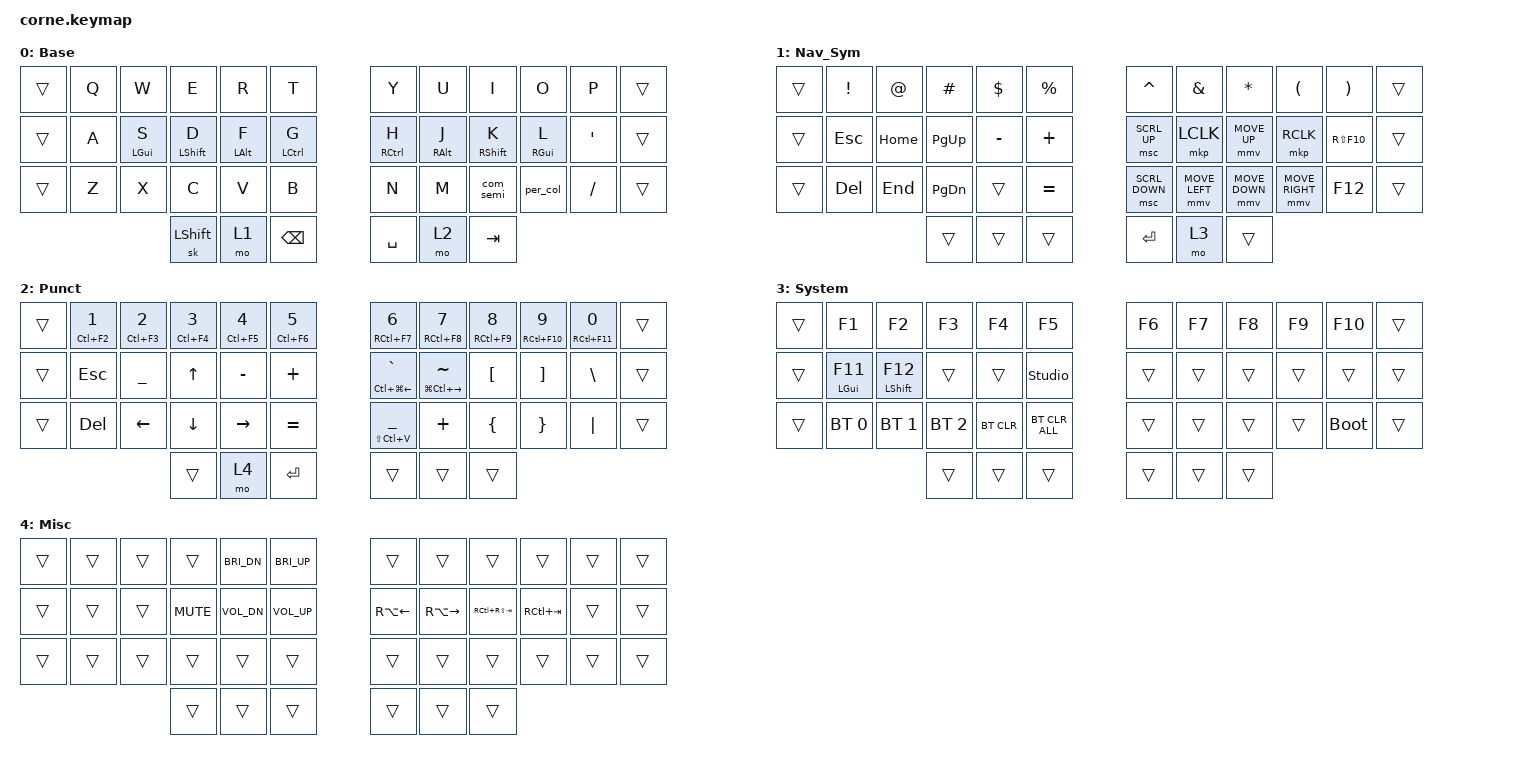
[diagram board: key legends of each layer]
#include <behaviors.dtsi>
#include <dt-bindings/zmk/bt.h>
#include <dt-bindings/zmk/keys.h>
#include <dt-bindings/zmk/pointing.h>

#define DEF 0
#define NAV 1
#define SYM 2
#define ADJ 3
#define EXTRA 4

//testing mouse movement and scroll binds...

&mt {
    flavor = "tap-preferred";
    quick-tap-ms = <280>;
    tapping-term-ms = <300>;
};

/ {
    behaviors {
        hm: homerow_mods {
            compatible = "zmk,behavior-hold-tap";
            label = "HOMEROW_MODS";
            #binding-cells = <2>;
            tapping-term-ms = <300>;
            quick_tap_ms = <0>;
            flavor = "tap-preferred";
            bindings = <&kp>, <&kp>;

            quick-tap-ms = <280>;
            global-quick-tap;
        };

        para: para {
            compatible = "zmk,behavior-tap-dance";
            label = "PARA";
            #binding-cells = <0>;
            bindings = <&kp LEFT_PARENTHESIS>, <&kp RIGHT_PARENTHESIS>;
        };

        caps: caps {
            compatible = "zmk,behavior-caps-word";
            label = "CAPS";
            #binding-cells = <0>;
            continue-list = <MINUS BACKSPACE>;
        };

        paraless: paraless {
            compatible = "zmk,behavior-mod-morph";
            label = "PARALESS";
            bindings = <&kp LEFT_PARENTHESIS>, <&kp LESS_THAN>;

            #binding-cells = <0>;
            mods = <(MOD_LSFT)>;
        };

        paragreat: paragreat {
            compatible = "zmk,behavior-mod-morph";
            label = "PARAGREAT";
            bindings = <&kp RIGHT_PARENTHESIS>, <&kp GREATER_THAN>;

            #binding-cells = <0>;
            mods = <(MOD_LSFT)>;
        };

        com_semi: com_semi {
            compatible = "zmk,behavior-mod-morph";
            label = "COM_SEMI";
            bindings = <&kp COMMA>, <&kp SEMI>;

            #binding-cells = <0>;
            mods = <(MOD_LSFT|MOD_RSFT)>;
        };

        per_col: per_col {
            compatible = "zmk,behavior-mod-morph";
            label = "PER_COL";
            bindings = <&kp PERIOD>, <&kp COLON>;

            #binding-cells = <0>;
            mods = <(MOD_LSFT|MOD_RSFT)>;
        };
    };

    combos { compatible = "zmk,combos"; };

    //

    keymap {
        compatible = "zmk,keymap";

        DEF {
            display-name = "Base";

            // -----------------------------------------------------------------------------------------
            // |  Q  |  W  |  E  |  R  |  T  |   |  Y  |  U   |  I  |  O  |  P  |
            // |  A  |  S  |  D  |  F  |  G  |   |  H  |  J   |  K  |  L  |  ;  |
            // |  Z  |  X  |  C  |  V  |  B  |   |  N  |  M   |  ,  |  .  |  /  |
            // | GUI | CTRL | SHFT | LWR | SPC |   | ENT | RSE  | BKSP | ALT | ESC |

            bindings = <
&trans  &kp Q  &kp W           &kp E           &kp R           &kp T                 &kp Y                &kp U            &kp I         &kp O            &kp P     &trans
&trans  &kp A  &hm LEFT_GUI S  &hm LSHFT D     &hm LEFT_ALT F  &hm LEFT_CONTROL G    &hm RIGHT_CONTROL H  &hm RIGHT_ALT J  &hm RSHIFT K  &hm RIGHT_GUI L  &kp APOS  &trans
&trans  &kp Z  &kp X           &kp C           &kp V           &kp B                 &kp N                &kp M            &com_semi     &per_col         &kp FSLH  &trans
                               &sk LEFT_SHIFT  &mo 1           &kp BACKSPACE         &kp SPACE            &mo 2            &kp TAB
            >;
        };

        Nav_Sym {
            display-name = "Nav_Sym";

            // -----------------------------------------------------------------------------------------
            // |  TAB |  1  |  2  |  3  |  4  |  5  |   |  6  |  7  |  8  |  9  |  0  | BKSP |
            // | BTCLR| BT1 | BT2 | BT3 | BT4 | BT5 |   | LFT | DWN |  UP | RGT |     |      |
            // | SHFT |     |     |     |     |     |   |     |     |     |     |     |      |
            // | GUI | CTRL | SHFT | LWR | SPC |   | ENT | RSE  | BKSP | ALT | ESC |

            bindings = <
&trans  &kp EXCL    &kp AT    &kp HASH       &kp DOLLAR  &kp PERCENT    &kp CARET       &kp AMPS        &kp ASTRK       &kp LPAR         &kp RPAR     &trans
&trans  &kp ESCAPE  &kp HOME  &kp PG_UP      &kp MINUS   &kp PLUS       &msc SCRL_UP    &mkp LCLK       &mmv MOVE_UP    &mkp RCLK        &kp RS(F10)  &trans
&trans  &kp DELETE  &kp END   &kp PAGE_DOWN  &trans      &kp EQUAL      &msc SCRL_DOWN  &mmv MOVE_LEFT  &mmv MOVE_DOWN  &mmv MOVE_RIGHT  &kp F12      &trans
                              &trans         &trans      &trans         &kp RET         &mo 3           &trans
            >;
        };

        Punct {
            display-name = "Punct";

            // -----------------------------------------------------------------------------------------
            // |  TAB |  !  |  @  |  #  |  $  |  %  |   |  ^  |  &  |  *  |  (  |  )  | BKSP |
            // | CTRL |     |     |     |     |     |   |  -  |  =  |  [  |  ]  |  \  |  `   |
            // | SHFT |     |     |     |     |     |   |  _  |  +  |  {  |  }  | "|" |  ~   |
            //                    | GUI |     | SPC |   | ENT |     | ALT |

            bindings = <
&trans  &mt LC(F2) NUMBER_1  &mt LC(F3) NUMBER_2  &mt LC(F4) NUMBER_3  &mt LC(F5) NUMBER_4  &mt LC(F6) N5    &mt RC(F7) NUMBER_6     &mt RC(F8) N7            &mt RC(F9) N8  &mt RC(F10) N9  &mt RC(F11) N0  &trans
&trans  &kp ESCAPE           &kp UNDER            &kp UP_ARROW         &kp MINUS            &kp PLUS         &mt LC(LG(LEFT)) GRAVE  &mt LG(LC(RIGHT)) TILDE  &kp LBKT       &kp RBKT        &kp BSLH        &trans
&trans  &kp DELETE           &kp LEFT_ARROW       &kp DOWN_ARROW       &kp RIGHT_ARROW      &kp EQUAL        &mt LS(LC(V)) UNDER     &kp PLUS                 &kp LBRC       &kp RBRC        &kp PIPE        &trans
                                                  &trans               &mo 4                &kp RET          &trans                  &trans                   &trans
            >;
        };

        Sys {
            display-name = "System";
            bindings = <
&trans  &kp F1        &kp F2         &kp F3        &kp F4      &kp F5            &kp F6  &kp F7  &kp F8  &kp F9  &kp F10      &trans
&trans  &hm LGUI F11  &hm LSHFT F12  &trans        &trans      &studio_unlock    &trans  &trans  &trans  &trans  &trans       &trans
&trans  &bt BT_SEL 0  &bt BT_SEL 1   &bt BT_SEL 2  &bt BT_CLR  &bt BT_CLR_ALL    &trans  &trans  &trans  &trans  &bootloader  &trans
                                     &trans        &trans      &trans            &trans  &trans  &trans
            >;
        };

        EXTRA {
            display-name = "Misc";
            bindings = <
&trans  &trans  &trans  &trans      &kp C_BRI_DN  &kp C_BRI_UP    &trans        &trans         &trans           &trans       &trans  &trans
&trans  &trans  &trans  &kp C_MUTE  &kp C_VOL_DN  &kp C_VOL_UP    &kp RA(LEFT)  &kp RA(RIGHT)  &kp RC(RS(TAB))  &kp RC(TAB)  &trans  &trans
&trans  &trans  &trans  &trans      &trans        &trans          &trans        &trans         &trans           &trans       &trans  &trans
                        &trans      &trans        &trans          &trans        &trans         &trans
            >;
        };
    };

    conditional_layers {
        compatible = "zmk,conditional-layers";

        l3 {
            if-layers = <1 2>;
            then-layer = <3>;
        };
    };
};
